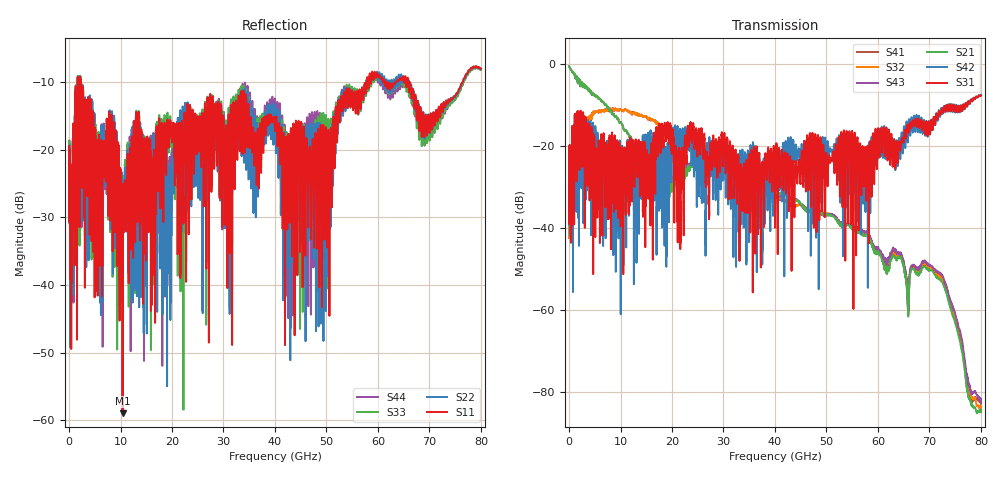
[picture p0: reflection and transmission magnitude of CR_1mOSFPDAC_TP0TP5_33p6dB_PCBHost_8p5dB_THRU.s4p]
!! Reference: shanbhag_3dj_01_2305.pdf
!! CHANNEL DESCRIPTION: TP0_TP5 CR Channel using 1meter DAC, PCB Host
!! MODEL DESCRIPTION: s4p, THRU
!! CONNECTOR DESCRIPTION: OSFP 200G SMT
!! CABLE DESCRIPTION: 1meter 26AWG Cable
!! MODEL STATUS: Developmental
!! PORT DEFINITIONS:
!! Port  1  ----->  Side A  Side B  <-----  Port  2
!! Port  3  ----->  Side A  Side B  <-----  Port  4
# HZ S MA R 50.000000
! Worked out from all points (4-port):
!   8000 points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, 10 MHz to 80 GHz, reference 50 ohm
!   strongest paths, dB at 10 MHz, 20.01 GHz, 40.01 GHz, 60.01 GHz, 80 GHz:
!     S31: -26.9, -17.7, -38.6, -15.6, -7.7
!     S42: -26.9, -16.8, -27.3, -22.9, -7.4
!     S21: -0.5, -29.2, -31.9, -45.7, -84.8
!     S43: -0.5, -28.6, -32.2, -44.8, -82.2
!     S32: -42.3, -16.8, -32.0, -45.0, -84.1
!     S41: -42.3, -16.9, -32.3, -45.3, -82.8
!   lowest |S11| = -59.0 dB at 10.39 GHz (marker M1), VSWR 1.00, Z = 50 + j0.101 ohm
!   |S11| at or under -10 dB: 2.26 GHz to 57.82 GHz (55.56 GHz wide, 185 % of centre); 61.69 GHz to 63.41 GHz (1.715 GHz wide, 2.74 % of centre); 66.27 GHz to 76.45 GHz (10.18 GHz wide, 14.3 % of centre) (the widest 3 of 14)
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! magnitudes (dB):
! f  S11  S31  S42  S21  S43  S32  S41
! 10 MHz  -24.4  -26.9  -26.9  -0.5  -0.5  -42.3  -42.3
! 2.56 GHz  -12.2  -14.4  -14.5  -5.2  -5.3  -15.3  -15.3
! 10.39 GHz  -59.0  -23.8  -22.0  -14.9  -14.8  -11.3  -11.4
! 18.62 GHz  -16.5  -15.4  -28.4  -33.5  -32.7  -15.4  -15.3
! 37.55 GHz  -15.6  -23.8  -45.0  -31.1  -30.8  -30.0  -30.3
! 70.39 GHz  -15.4  -13.6  -13.5  -50.3  -49.2  -49.7  -49.8
! 80 GHz  -8.0  -7.7  -7.4  -84.8  -82.2  -84.1  -82.8
